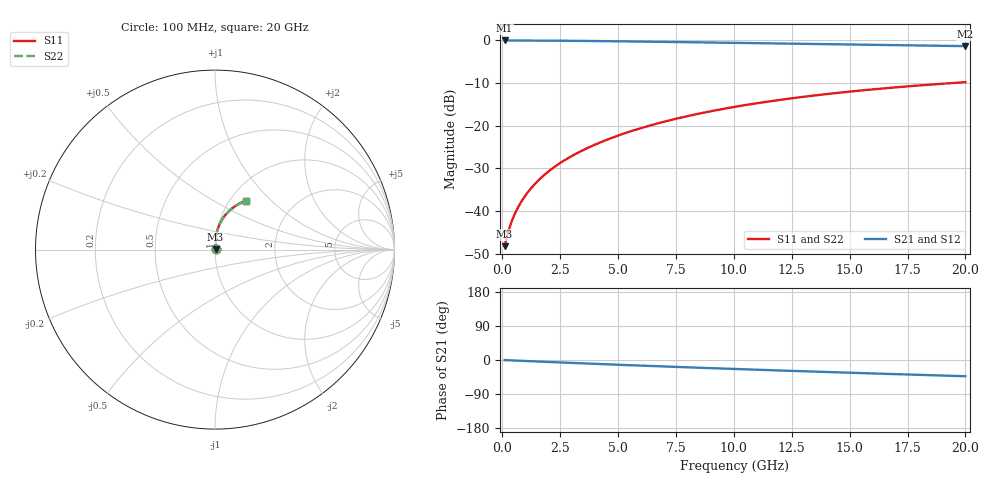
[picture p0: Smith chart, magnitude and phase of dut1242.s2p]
! Touchstone file exported from HFSS 2024.1.0
!  File:  C:/UserFiles/LocalFiles/RDL_TSV_Batchsim/temp_RDL_top_1242_1780241070.aedt
!  Generated:  11:26:48 PM May 31, 2026
!  Design:  RDL_top
!  Project:  temp_RDL_top_1242_1780241070
!  Setup:  Setup1
!  Solution:  Sweep
! Variables:
!  dtsv = 10.80580581um
!  hbump = 3um
!  htsv = 58.13um
!  ldown = 100um
!  lrdl = 667.92um
!  p = 40
!  p1 = 42.2um
!  rhole = 1um
!  t = 450um
!  tdown = 3.915915916um
!  trdl = 3.12um
!  wdown = 15.38538539um
!  wrdl = 23.52um
# GHz S MA R 50.000000
! Terminal data exported
! Port[1] = Box2_T1
! Port[2] = Box2_T2
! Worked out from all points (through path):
!   200 points, 100 MHz to 20 GHz, reference 50 ohm
!   highest |S21| = -0.03 dB at 100 MHz (marker M1); lowest = -1.4 dB at 20 GHz (marker M2)
!   group delay of S21, straight-line fit = 5.89 ps
!   lowest |S11| = -48.3 dB at 100 MHz (marker M3), VSWR 1.01, Z = 50.3 + j0.173 ohm
!   |S11| at or under -10 dB: start of sweep to 19.47 GHz
!   |S22| runs from -48.3 to -9.8 dB; largest |S21 - S12| = 2.3e-15
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0.1  0.003863 26.4  0.9965 -0.3  0.9965 -0.3  0.003863 26.4
! Gamma 0 0 0 0
! Port Impedance 50 0 50 0
0.3  0.006198 51.5  0.996 -0.8  0.996 -0.8  0.006198 51.5
0.4  0.007467 57.2  0.9958 -1.1  0.9958 -1.1  0.007467 57.2
0.5  0.008731 61.4  0.9955 -1.3  0.9955 -1.3  0.008731 61.4
0.6  0.009999 64.6  0.9953 -1.6  0.9953 -1.6  0.009999 64.6
0.8  0.01257 69.4  0.9949 -2.1  0.9949 -2.1  0.01257 69.4
1  0.0152 72.9  0.9944 -2.6  0.9944 -2.6  0.0152 72.9
1.2  0.01789 75.4  0.994 -3.1  0.994 -3.1  0.01789 75.4
1.7  0.02482 79.6  0.9925 -4.4  0.9925 -4.4  0.02482 79.6
2.2  0.03202 81.9  0.9907 -5.7  0.9907 -5.7  0.03202 81.9
2.8  0.04096 83.6  0.988 -7.2  0.988 -7.2  0.04096 83.6
3.5  0.0518 84.6  0.9843 -8.9  0.9843 -8.9  0.0518 84.6
4.2  0.06307 84.9  0.9799 -10.6  0.9799 -10.6  0.06307 84.9
5  0.07642 84.7  0.9745 -12.6  0.9745 -12.6  0.07642 84.7
5.9  0.09193 84.1  0.9678 -14.7  0.9678 -14.7  0.09192 84.0
6.8  0.1078 83.0  0.9608 -16.7  0.9608 -16.7  0.1078 83.0
8.4  0.1366 80.5  0.9478 -20.2  0.9478 -20.2  0.1366 80.4
10.1  0.1672 77.3  0.9338 -23.8  0.9338 -23.8  0.1672 77.3
11.7  0.1954 74.0  0.9206 -27.1  0.9206 -27.1  0.1954 74.0
13.4  0.2244 70.5  0.9068 -30.5  0.9068 -30.5  0.2244 70.5
16.7  0.2768 63.8  0.8804 -36.8  0.8804 -36.8  0.2768 63.8
20  0.3233 57.3  0.8549 -42.8  0.8549 -42.8  0.3232 57.3
